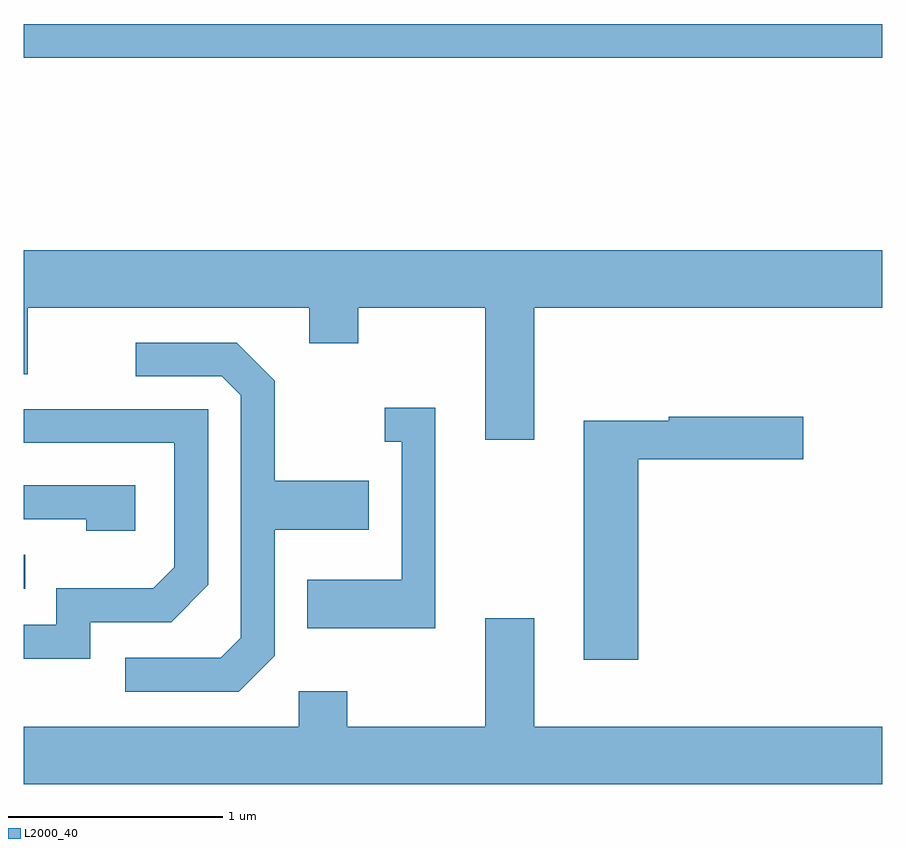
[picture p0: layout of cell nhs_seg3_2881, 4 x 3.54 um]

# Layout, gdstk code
import gdstk
lib = gdstk.Library(unit=1e-6, precision=1e-09)
def R(c, l, rs):  # rectangles x0, y0, x1, y1
    for r in rs: c.add(gdstk.rectangle(r[:2], r[2:], *l))
def P(c, l, *ps):  # polygons
    for p in ps: c.add(gdstk.Polygon(p, *l))
L2000_40 = (2000, 40)

nhs_seg3_2881 = lib.new_cell('nhs_seg3_2881')
R(nhs_seg3_2881, L2000_40, [(269.611,1166.886,269.618,1167.044), (269.611,1169.361,273.611,1169.519)])
P(nhs_seg3_2881, L2000_40, [(271.989,1168.196),(273.611,1168.196),(273.611,1168.464),(269.611,1168.464),(269.611,1167.886),(269.629,1167.886),(269.629,1168.196),(270.941,1168.196),(270.941,1168.031),(271.169,1168.031),(271.169,1168.196),(271.761,1168.196),(271.761,1167.581),(271.989,1167.581)],
  [(270.779,1166.574),(270.779,1167.161),(271.219,1167.161),(271.219,1167.389),(270.779,1167.389),(270.779,1167.857),(270.602,1168.034),(270.133,1168.034),(270.133,1167.876),(270.534,1167.876),(270.621,1167.789),(270.621,1166.657),(270.529,1166.564),(270.083,1166.564),(270.083,1166.406),(270.612,1166.406)],
  [(271.529,1167.729),(271.293,1167.729),(271.293,1167.571),(271.371,1167.571),(271.371,1166.929),(270.931,1166.929),(270.931,1166.701),(271.529,1166.701)],
  [(269.919,1166.731),(270.297,1166.731),(270.469,1166.904),(270.469,1167.724),(269.611,1167.724),(269.611,1167.566),(270.311,1167.566),(270.311,1166.987),(270.214,1166.889),(269.761,1166.889),(269.761,1166.719),(269.611,1166.719),(269.611,1166.561),(269.919,1166.561)],
  [(272.474,1167.491),(273.244,1167.491),(273.244,1167.689),(272.616,1167.689),(272.616,1167.669),(272.221,1167.669),(272.221,1166.556),(272.474,1166.556)],
  [(270.129,1167.369),(269.611,1167.369),(269.611,1167.211),(269.901,1167.211),(269.901,1167.156),(270.129,1167.156)],
  [(273.611,1166.244),(271.989,1166.244),(271.989,1166.749),(271.761,1166.749),(271.761,1166.244),(271.119,1166.244),(271.119,1166.409),(270.891,1166.409),(270.891,1166.244),(269.611,1166.244),(269.611,1165.976),(273.611,1165.976)])

lib.write_gds('nhs_seg3_2881.gds')
